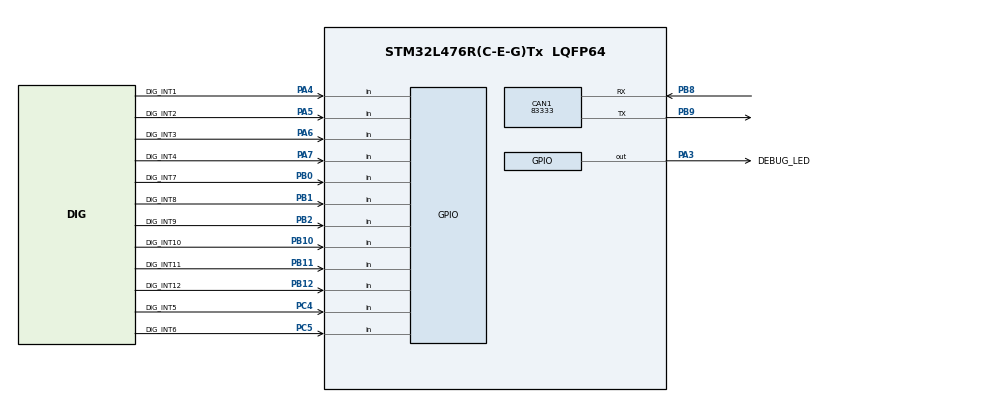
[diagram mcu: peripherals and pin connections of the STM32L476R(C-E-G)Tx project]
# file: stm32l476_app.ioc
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CAN1.CalculateBaudRate=83333
CAN1.CalculateTimeBit=12000
CAN1.CalculateTimeQuantum=4000.0
Mcu.Family=STM32L4
Mcu.Name=STM32L476R(C-E-G)Tx
Mcu.Package=LQFP64
NVIC.PriorityGroup=NVIC_PRIORITYGROUP_4
PA0.Signal=ADCx_IN5
PA1.Signal=ADCx_IN6
PA2.Signal=ADCx_IN7
PA3.GPIO_Label=DEBUG_LED
PA3.Signal=GPIO_Output
PA4.GPIO_Label=DIG_INT1
PA4.Signal=GPIO_Input
PA5.GPIO_Label=DIG_INT2
PA5.Signal=GPIO_Input
PA6.GPIO_Label=DIG_INT3
PA6.Signal=GPIO_Input
PA7.GPIO_Label=DIG_INT4
PA7.Signal=GPIO_Input
PB0.GPIO_Label=DIG_INT7
PB0.Signal=GPIO_Input
PB1.GPIO_Label=DIG_INT8
PB1.Signal=GPIO_Input
PB10.GPIO_Label=DIG_INT10
PB10.Signal=GPIO_Input
PB11.GPIO_Label=DIG_INT11
PB11.Signal=GPIO_Input
PB12.GPIO_Label=DIG_INT12
PB12.Signal=GPIO_Input
PB2.GPIO_Label=DIG_INT9
PB2.Signal=GPIO_Input
PB8.Mode=CAN_Activate
PB8.Signal=CAN1_RX
PB9.Mode=CAN_Activate
PB9.Signal=CAN1_TX
PC4.GPIO_Label=DIG_INT5
PC4.Signal=GPIO_Input
PC5.GPIO_Label=DIG_INT6
PC5.Signal=GPIO_Input
ProjectManager.HeapSize=0x200
ProjectManager.StackSize=0x400
ProjectManager.TargetToolchain=STM32CubeIDE
RCC.HSE_VALUE=8000000
RCC.HSI_VALUE=16000000
RCC.LSE_VALUE=32768
RCC.MSI_VALUE=4000000
RCC.VCOOutputFreq_Value=32000000
SH.ADCx_IN5.0=ADC1_IN5
SH.ADCx_IN6.0=ADC1_IN6
SH.ADCx_IN7.0=ADC1_IN7
VP_CRC_VS_CRC.Mode=CRC_Activate
VP_TIM17_VS_ClockSourceINT.Mode=Enable_Timer
board=custom

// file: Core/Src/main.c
/* USER CODE BEGIN Header */
/**
  ******************************************************************************
  * @file           : main.c
  * @brief          : Main program body
  ******************************************************************************
  * @attention
  *
  * Copyright (c) 2024 STMicroelectronics.
  * All rights reserved.
  *
  * This software is licensed under terms that can be found in the LICENSE file
  * in the root directory of this software component.
  * If no LICENSE file comes with this software, it is provided AS-IS.
  *
  ******************************************************************************
  */
/* USER CODE END Header */
#include "main.h"
#include "can_conf.h"
#include "can_app.h"

CAN_HandleTypeDef hcan1;

CRC_HandleTypeDef hcrc;

TIM_HandleTypeDef htim17;

void SystemClock_Config(void);
static void MX_GPIO_Init(void);
static void MX_CAN1_Init(void);
static void MX_CRC_Init(void);
static void MX_TIM17_Init(void);

int main(void)
{

  /* MCU Configuration--------------------------------------------------------*/

  /* Reset of all peripherals, Initializes the Flash interface and the Systick. */
  HAL_Init();

  /* Configure the system clock */
  SystemClock_Config();

  /* Initialize all configured peripherals */
  MX_GPIO_Init();
  MX_CAN1_Init();
  MX_CRC_Init();
  MX_TIM17_Init();
  /* USER CODE BEGIN 2 */

	/* Configure CAN RX FILTER */
	config_can_filter();

	/* Initialize CAN TX FIFO */
	CANTX_FIFO_init(&CanTxList,&hcan1);

	/* Start Timers */
	HAL_TIM_Base_Start_IT(&htim17); // 1mS

	/* Start CAN recieve Interrupt */
	HAL_CAN_Start(&hcan1);
	HAL_CAN_ActivateNotification(&hcan1, CAN_IT_RX_FIFO0_MSG_PENDING);

  /* USER CODE END 2 */

  /* Infinite loop */
  while (1)
  {

  }
}

void SystemClock_Config(void)
{
  RCC_OscInitTypeDef RCC_OscInitStruct = {0};
  RCC_ClkInitTypeDef RCC_ClkInitStruct = {0};

  /** Configure the main internal regulator output voltage
  */
  if (HAL_PWREx_ControlVoltageScaling(PWR_REGULATOR_VOLTAGE_SCALE1) != HAL_OK)
  {
    Error_Handler();
  }

  /** Initializes the RCC Oscillators according to the specified parameters
  * in the RCC_OscInitTypeDef structure.
  */
  RCC_OscInitStruct.OscillatorType = RCC_OSCILLATORTYPE_MSI;
  RCC_OscInitStruct.MSIState = RCC_MSI_ON;
  RCC_OscInitStruct.MSICalibrationValue = 0;
  RCC_OscInitStruct.MSIClockRange = RCC_MSIRANGE_6;
  RCC_OscInitStruct.PLL.PLLState = RCC_PLL_NONE;
  if (HAL_RCC_OscConfig(&RCC_OscInitStruct) != HAL_OK)
  {
    Error_Handler();
  }

  /** Initializes the CPU, AHB and APB buses clocks
  */
  RCC_ClkInitStruct.ClockType = RCC_CLOCKTYPE_HCLK|RCC_CLOCKTYPE_SYSCLK
                              |RCC_CLOCKTYPE_PCLK1|RCC_CLOCKTYPE_PCLK2;
  RCC_ClkInitStruct.SYSCLKSource = RCC_SYSCLKSOURCE_MSI;
  RCC_ClkInitStruct.AHBCLKDivider = RCC_SYSCLK_DIV1;
  RCC_ClkInitStruct.APB1CLKDivider = RCC_HCLK_DIV1;
  RCC_ClkInitStruct.APB2CLKDivider = RCC_HCLK_DIV1;

  if (HAL_RCC_ClockConfig(&RCC_ClkInitStruct, FLASH_LATENCY_0) != HAL_OK)
  {
    Error_Handler();
  }
}

static void MX_CAN1_Init(void)
{

  hcan1.Instance = CAN1;
  hcan1.Init.Prescaler = 16;
  hcan1.Init.Mode = CAN_MODE_NORMAL;
  hcan1.Init.SyncJumpWidth = CAN_SJW_1TQ;
  hcan1.Init.TimeSeg1 = CAN_BS1_1TQ;
  hcan1.Init.TimeSeg2 = CAN_BS2_1TQ;
  hcan1.Init.TimeTriggeredMode = DISABLE;
  hcan1.Init.AutoBusOff = DISABLE;
  hcan1.Init.AutoWakeUp = DISABLE;
  hcan1.Init.AutoRetransmission = DISABLE;
  hcan1.Init.ReceiveFifoLocked = DISABLE;
  hcan1.Init.TransmitFifoPriority = DISABLE;
  if (HAL_CAN_Init(&hcan1) != HAL_OK)
  {
    Error_Handler();
  }

}

static void MX_CRC_Init(void)
{

  hcrc.Instance = CRC;
  hcrc.Init.DefaultPolynomialUse = DEFAULT_POLYNOMIAL_ENABLE;
  hcrc.Init.DefaultInitValueUse = DEFAULT_INIT_VALUE_ENABLE;
  hcrc.Init.InputDataInversionMode = CRC_INPUTDATA_INVERSION_NONE;
  hcrc.Init.OutputDataInversionMode = CRC_OUTPUTDATA_INVERSION_DISABLE;
  hcrc.InputDataFormat = CRC_INPUTDATA_FORMAT_BYTES;
  if (HAL_CRC_Init(&hcrc) != HAL_OK)
  {
    Error_Handler();
  }

}

static void MX_TIM17_Init(void)
{

  htim17.Instance = TIM17;
  htim17.Init.Prescaler = 0;
  htim17.Init.CounterMode = TIM_COUNTERMODE_UP;
  htim17.Init.Period = 65535;
  htim17.Init.ClockDivision = TIM_CLOCKDIVISION_DIV1;
  htim17.Init.RepetitionCounter = 0;
  htim17.Init.AutoReloadPreload = TIM_AUTORELOAD_PRELOAD_DISABLE;
  if (HAL_TIM_Base_Init(&htim17) != HAL_OK)
  {
    Error_Handler();
  }

}

static void MX_GPIO_Init(void)
{
  GPIO_InitTypeDef GPIO_InitStruct = {0};

  /* GPIO Ports Clock Enable */
  __HAL_RCC_GPIOA_CLK_ENABLE();
  __HAL_RCC_GPIOC_CLK_ENABLE();
  __HAL_RCC_GPIOB_CLK_ENABLE();

  /*Configure GPIO pin Output Level */
  HAL_GPIO_WritePin(DEBUG_LED_GPIO_Port, DEBUG_LED_Pin, GPIO_PIN_RESET);

  /*Configure GPIO pins : PA0 PA1 PA2 */
  GPIO_InitStruct.Pin = GPIO_PIN_0|GPIO_PIN_1|GPIO_PIN_2;
  GPIO_InitStruct.Mode = GPIO_MODE_ANALOG_ADC_CONTROL;
  GPIO_InitStruct.Pull = GPIO_NOPULL;
  HAL_GPIO_Init(GPIOA, &GPIO_InitStruct);

  /*Configure GPIO pin : DEBUG_LED_Pin */
  GPIO_InitStruct.Pin = DEBUG_LED_Pin;
  GPIO_InitStruct.Mode = GPIO_MODE_OUTPUT_PP;
  GPIO_InitStruct.Pull = GPIO_NOPULL;
  GPIO_InitStruct.Speed = GPIO_SPEED_FREQ_LOW;
  HAL_GPIO_Init(DEBUG_LED_GPIO_Port, &GPIO_InitStruct);

  /*Configure GPIO pins : DIG_INT1_Pin DIG_INT2_Pin DIG_INT3_Pin DIG_INT4_Pin */
  GPIO_InitStruct.Pin = DIG_INT1_Pin|DIG_INT2_Pin|DIG_INT3_Pin|DIG_INT4_Pin;
  GPIO_InitStruct.Mode = GPIO_MODE_INPUT;
  GPIO_InitStruct.Pull = GPIO_NOPULL;
  HAL_GPIO_Init(GPIOA, &GPIO_InitStruct);

  /*Configure GPIO pins : DIG_INT5_Pin DIG_INT6_Pin */
  GPIO_InitStruct.Pin = DIG_INT5_Pin|DIG_INT6_Pin;
  GPIO_InitStruct.Mode = GPIO_MODE_INPUT;
  GPIO_InitStruct.Pull = GPIO_NOPULL;
  HAL_GPIO_Init(GPIOC, &GPIO_InitStruct);

  /*Configure GPIO pins : DIG_INT7_Pin DIG_INT8_Pin DIG_INT9_Pin DIG_INT10_Pin
                           DIG_INT11_Pin DIG_INT12_Pin */
  GPIO_InitStruct.Pin = DIG_INT7_Pin|DIG_INT8_Pin|DIG_INT9_Pin|DIG_INT10_Pin
                          |DIG_INT11_Pin|DIG_INT12_Pin;
  GPIO_InitStruct.Mode = GPIO_MODE_INPUT;
  GPIO_InitStruct.Pull = GPIO_NOPULL;
  HAL_GPIO_Init(GPIOB, &GPIO_InitStruct);

}

/* USER CODE BEGIN 4 */
/* HAL_TIM_PeriodElapsedCallback ---------------------------------------------*/
/* Interrupt callback to manage timer interrupts							  */
/* htim19 1ms																  */
/*----------------------------------------------------------------------------*/
void HAL_TIM_PeriodElapsedCallback(TIM_HandleTypeDef *htim)
{

	/* htim17 1ms */
	if (&htim17 == htim) {

		static uint16_t cpt2=0;

		//SDADC_SAMPLE_ALL();	// Sample all channels 1mS oversampling

		G_mSCounter++;

		if(G_mSCounter>=G_MAX_MS_COUNTER){
			G_mSCounter=0;
		}

		cpt2++;

		/* 1 S, reinitiate cpt2 */
		if(cpt2>=1000){
			cpt2=0;
		}

		/* 10 mS */
		if(cpt2%10==0){
			/* Main loop -----------------------------------------------------*/

			/* Input Read ------------------------------------------------*/

			/*------------------------------------------------ Input Read */

			/* Control loop ----------------------------------------------*/

			/*---------------------------------------------- Control loop */

			/* Output Write ----------------------------------------------*/

			// Mid layer output management

			// LED CONTROL
				if (G_mSCounter % 250 == 0) {
					// every 500mS update the LED Status
					static uint8_t led_state = 1;

					switch (led_state) {
					case 1:
						HAL_GPIO_WritePin(DEBUG_LED_GPIO_Port, DEBUG_LED_Pin, 1);

						led_state++;
						break;
					case 2:
						HAL_GPIO_WritePin(DEBUG_LED_GPIO_Port, DEBUG_LED_Pin, 0);
						led_state++;
						break;
					case 3:
						HAL_GPIO_WritePin(DEBUG_LED_GPIO_Port,DEBUG_LED_Pin, 0);
						led_state = 1;
						break;
					default:
						break;
					}
				}

			/* Send 1000mS CAN messages */
			if (cpt2 == 0) {
				/* Add CAN messages to FIFO */
				CAN_SEND_1000ms();
			}

			/* Send 100mS CAN messages */
			if (cpt2 % 100 == 0) {
				/* Add CAN messages to FIFO */
				CAN_SEND_100ms();
			}

			/* Send 20mS CAN messages */
			if (cpt2 % 20 == 0) {
				/* Add CAN messages to FIFO */
				CAN_SEND_20ms();
			}

			/* Initiate CAN transmit */
			if(CanTxList.current_qty_in_queue!=0){
				CANTX_FIFO_INITIATE_TRANSMIT(&CanTxList, &hcan1);
			}
			/*---------------------------------------------- Output Write */

			/*----------------------------------------------------- Main loop */
		}

	}
}

void HAL_CAN_ErrorCallback(CAN_HandleTypeDef *phcan){
	uint32_t transmitmailbox;
	int retry=0;

	if((phcan->ErrorCode & HAL_CAN_ERROR_TX_ALST0) || (phcan->ErrorCode & HAL_CAN_ERROR_TX_TERR0)){
		HAL_CAN_AbortTxRequest(phcan,CAN_TX_MAILBOX0);
		retry=1;
	}
	if((phcan->ErrorCode & HAL_CAN_ERROR_TX_ALST1) || (phcan->ErrorCode & HAL_CAN_ERROR_TX_TERR1)){
		HAL_CAN_AbortTxRequest(phcan,CAN_TX_MAILBOX1);
		retry=1;
	}
	if((phcan->ErrorCode & HAL_CAN_ERROR_TX_ALST2) || (phcan->ErrorCode & HAL_CAN_ERROR_TX_TERR2)){
		HAL_CAN_AbortTxRequest(phcan,CAN_TX_MAILBOX2);
		retry=1;
	}

	HAL_CAN_ResetError(phcan);

	if(retry==1){
		HAL_CAN_DeactivateNotification(phcan,CAN_IT_TX_MAILBOX_EMPTY);
		HAL_CAN_ActivateNotification(phcan,CAN_IT_TX_MAILBOX_EMPTY);
		HAL_CAN_AddTxMessage(phcan,&(CanTxList.SendMsgBuff.header),CanTxList.SendMsgBuff.Data,&transmitmailbox);
	}
}

/* HAL_CAN_TxCpltCallback ----------------------------------------------------*/
/* Interrupt callback to manage Can Tx Ready                                  */
/*----------------------------------------------------------------------------*/
void HAL_CAN_TxMailbox0CompleteCallback(CAN_HandleTypeDef* phcan){
	CAN_TX_Cplt(phcan);
}
void HAL_CAN_TxMailbox1CompleteCallback(CAN_HandleTypeDef* phcan){
	CAN_TX_Cplt(phcan);
}
void HAL_CAN_TxMailbox2CompleteCallback(CAN_HandleTypeDef* phcan){
	CAN_TX_Cplt(phcan);
}

void CAN_TX_Cplt(CAN_HandleTypeDef* phcan){
	uint32_t transmitmailbox;
		if (CanTxList.current_qty_in_queue) {
			CanTxList.SendMsgBuff = CANTX_FIFO_pull(&CanTxList);

			if(CanTxList.SendMsgBuff.header.ExtId!=0){

				HAL_CAN_AddTxMessage(phcan,&(CanTxList.SendMsgBuff.header),CanTxList.SendMsgBuff.Data,&transmitmailbox);
			}
		} else {
			CanTxList.TxInProgress = 0;
		}
}
/*---------------------------------------------------- HAL_CAN_TxCpltCallback */

/* HAL_CAN_RxCpltCallback ----------------------------------------------------*/
/* Interrupt callback to manage Can Rx message ready to read                  */
/*----------------------------------------------------------------------------*/
void HAL_CAN_RxFifo0MsgPendingCallback(CAN_HandleTypeDef* phcan){

	CAN_RxHeaderTypeDef rxheader;
	uint8_t data[8];

	HAL_CAN_GetRxMessage(phcan, CAN_RX_FIFO0, &rxheader, data);

	/* Low level Can management ----------------------------------------------*/

}
/*---------------------------------------------------- HAL_CAN_RxCpltCallback */

void config_can_filter(void){
  CAN_FilterTypeDef sFilterConfig;

  uint32_t filterMask= 0xFFFF88FF;
  uint32_t filterID=   0x18FF00E7; // Only accept ECU CAN message ID

  /*##-2- Configure the CAN Filter ###########################################*/
  sFilterConfig.FilterMode = CAN_FILTERMODE_IDMASK;
  sFilterConfig.FilterScale = CAN_FILTERSCALE_32BIT;
  sFilterConfig.FilterIdHigh = filterID >> 13;
  sFilterConfig.FilterIdLow = (0x00FF & (filterID << 3)) | (1 << 2);;
  sFilterConfig.FilterMaskIdHigh = filterMask >> 13;
  sFilterConfig.FilterMaskIdLow = (0x00FF & (filterMask << 3)) | (1 << 2);
  sFilterConfig.FilterFIFOAssignment = 0;
  sFilterConfig.FilterActivation = ENABLE;
  sFilterConfig.FilterBank = 0;
  if (HAL_CAN_ConfigFilter(&hcan1, &sFilterConfig) != HAL_OK)
  {
    Error_Handler();
  }
}
/* USER CODE END 4 */

void Error_Handler(void)
{
  __disable_irq();
  while (1)
  {
  }
}
